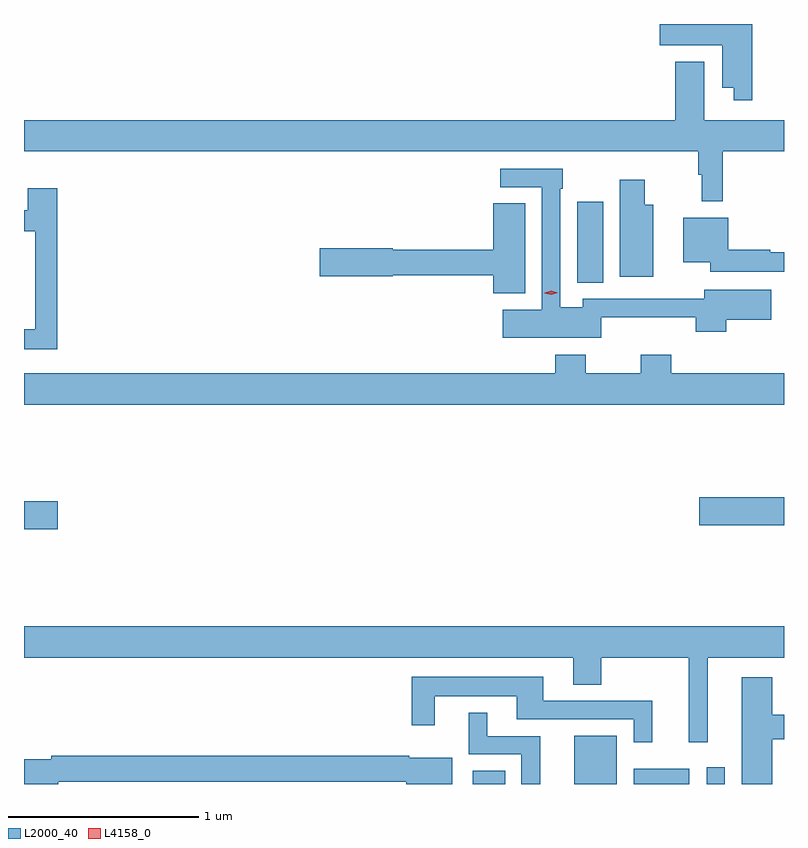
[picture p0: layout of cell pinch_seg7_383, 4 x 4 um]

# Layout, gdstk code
import gdstk
lib = gdstk.Library(unit=1e-6, precision=1e-09)
def R(c, l, rs):  # rectangles x0, y0, x1, y1
    for r in rs: c.add(gdstk.rectangle(r[:2], r[2:], *l))
def P(c, l, *ps):  # polygons
    for p in ps: c.add(gdstk.Polygon(p, *l))
L2000_40 = (2000, 40)
L4158_0 = (4158, 0)

pinch_seg7_383 = lib.new_cell('pinch_seg7_383')
R(pinch_seg7_383, L2000_40, [(520.454,1011.939,520.625,1012.01), (520.988,1011.939,521.212,1012.192), (521.3,1011.939,521.593,1012.018), (521.685,1011.939,521.781,1012.027), (518.092,1013.279,518.269,1013.426), (521.645,1013.3,522.092,1013.447), (521.003,1014.577,521.14,1015.003)])
P(pinch_seg7_383, L2000_40, [(521.925,1015.939),(521.438,1015.939),(521.438,1015.826),(521.768,1015.826),(521.768,1015.604),(521.828,1015.604),(521.828,1015.539),(521.925,1015.539)],
  [(521.77,1015.268),(522.092,1015.268),(522.092,1015.432),(521.671,1015.432),(521.671,1015.741),(521.519,1015.741),(521.519,1015.432),(518.092,1015.432),(518.092,1015.268),(521.641,1015.268),(521.641,1015.145),(521.659,1015.145),(521.659,1015.005),(521.77,1015.005)],
  [(521.13,1014.395),(521.627,1014.395),(521.627,1014.32),(521.787,1014.32),(521.787,1014.383),(522.025,1014.383),(522.025,1014.541),(521.672,1014.541),(521.672,1014.492),(521.034,1014.492),(521.034,1014.448),(520.914,1014.448),(520.914,1015.073),(520.927,1015.073),(520.927,1015.176),(520.599,1015.176),(520.599,1015.08),(520.818,1015.08),(520.818,1014.436),(520.611,1014.436),(520.611,1014.287),(521.13,1014.287)],
  [(521.404,1014.988),(521.358,1014.988),(521.358,1015.12),(521.228,1015.12),(521.228,1014.608),(521.404,1014.608)],
  [(518.267,1015.075),(518.111,1015.075),(518.111,1014.958),(518.092,1014.958),(518.092,1014.849),(518.151,1014.849),(518.151,1014.333),(518.092,1014.333),(518.092,1014.228),(518.267,1014.228)],
  [(520.729,1014.995),(520.562,1014.995),(520.562,1014.752),(520.032,1014.752),(520.032,1014.758),(519.648,1014.758),(519.648,1014.611),(520.032,1014.611),(520.032,1014.616),(520.562,1014.616),(520.562,1014.521),(520.729,1014.521)],
  [(522.092,1014.739),(522.02,1014.739),(522.02,1014.752),(521.799,1014.752),(521.799,1014.919),(521.561,1014.919),(521.561,1014.686),(521.703,1014.686),(521.703,1014.636),(522.092,1014.636)],
  [(522.092,1014.1),(521.498,1014.1),(521.498,1014.199),(521.338,1014.199),(521.338,1014.1),(521.049,1014.1),(521.049,1014.199),(520.889,1014.199),(520.889,1014.1),(518.092,1014.1),(518.092,1013.936),(522.092,1013.936)],
  [(521.69,1012.604),(522.092,1012.604),(522.092,1012.768),(518.092,1012.768),(518.092,1012.604),(520.982,1012.604),(520.982,1012.462),(521.13,1012.462),(521.13,1012.604),(521.591,1012.604),(521.591,1012.158),(521.69,1012.158)],
  [(521.399,1012.377),(520.825,1012.377),(520.825,1012.504),(520.134,1012.504),(520.134,1012.248),(520.255,1012.248),(520.255,1012.4),(520.685,1012.4),(520.685,1012.281),(521.301,1012.281),(521.301,1012.158),(521.399,1012.158)],
  [(522.029,1012.174),(522.092,1012.174),(522.092,1012.303),(522.029,1012.303),(522.029,1012.501),(521.87,1012.501),(521.87,1011.939),(522.029,1011.939)],
  [(520.808,1012.191),(520.531,1012.191),(520.531,1012.315),(520.433,1012.315),(520.433,1012.095),(520.71,1012.095),(520.71,1011.939),(520.808,1011.939)],
  [(518.273,1011.952),(520.103,1011.952),(520.103,1011.939),(520.345,1011.939),(520.345,1012.078),(520.119,1012.078),(520.119,1012.088),(518.236,1012.088),(518.236,1012.068),(518.092,1012.068),(518.092,1011.939),(518.273,1011.939)])
P(pinch_seg7_383, L4158_0, [(520.867,1014.514),(520.832,1014.523),(520.832,1014.523),(520.832,1014.524),(520.866,1014.534),(520.901,1014.525),(520.902,1014.525),(520.901,1014.525)])

lib.write_gds('pinch_seg7_383.gds')
